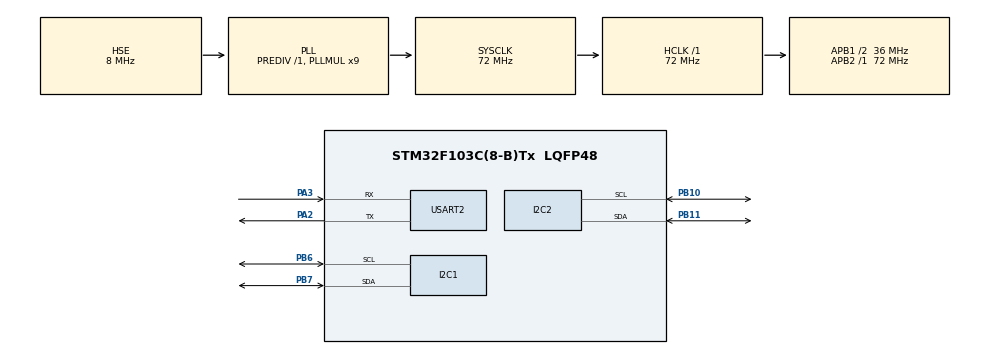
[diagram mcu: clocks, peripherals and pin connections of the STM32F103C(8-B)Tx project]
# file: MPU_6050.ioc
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Dma.I2C1_TX.0.Direction=DMA_MEMORY_TO_PERIPH
Dma.I2C1_TX.0.Instance=DMA1_Channel6
Dma.I2C1_TX.0.MemDataAlignment=DMA_MDATAALIGN_BYTE
Dma.I2C1_TX.0.MemInc=DMA_MINC_ENABLE
Dma.I2C1_TX.0.Mode=DMA_NORMAL
Dma.I2C1_TX.0.PeriphDataAlignment=DMA_PDATAALIGN_BYTE
Dma.I2C1_TX.0.PeriphInc=DMA_PINC_DISABLE
Dma.I2C1_TX.0.Priority=DMA_PRIORITY_HIGH
Dma.Request0=I2C1_TX
I2C1.I2C_Mode=I2C_Fast
Mcu.Family=STM32F1
Mcu.Name=STM32F103C(8-B)Tx
Mcu.Package=LQFP48
NVIC.DMA1_Channel6_IRQn=true\:0\:0\:false\:false\:true\:false\:true\:true
NVIC.I2C1_EV_IRQn=true\:0\:0\:false\:false\:true\:true\:true\:true
NVIC.I2C2_EV_IRQn=true\:0\:0\:false\:false\:true\:true\:true\:true
NVIC.PriorityGroup=NVIC_PRIORITYGROUP_4
NVIC.TIM3_IRQn=true\:0\:0\:false\:false\:true\:true\:true\:true
PA13.Mode=Serial_Wire
PA13.Signal=SYS_JTMS-SWDIO
PA14.Mode=Serial_Wire
PA14.Signal=SYS_JTCK-SWCLK
PA2.Mode=Asynchronous
PA2.Signal=USART2_TX
PA3.Mode=Asynchronous
PA3.Signal=USART2_RX
PB10.Mode=I2C
PB10.Signal=I2C2_SCL
PB11.Mode=I2C
PB11.Signal=I2C2_SDA
PB6.Mode=I2C
PB6.Signal=I2C1_SCL
PB7.Mode=I2C
PB7.Signal=I2C1_SDA
PD0-OSC_IN.Mode=HSE-External-Oscillator
PD0-OSC_IN.Signal=RCC_OSC_IN
PD1-OSC_OUT.Mode=HSE-External-Oscillator
PD1-OSC_OUT.Signal=RCC_OSC_OUT
ProjectManager.HeapSize=0x200
ProjectManager.StackSize=0x400
ProjectManager.TargetToolchain=STM32CubeIDE
RCC.AHBFreq_Value=72000000
RCC.APB1CLKDivider=RCC_HCLK_DIV2
RCC.APB1Freq_Value=36000000
RCC.APB1TimFreq_Value=72000000
RCC.APB2Freq_Value=72000000
RCC.APB2TimFreq_Value=72000000
RCC.HCLKFreq_Value=72000000
RCC.PLLMUL=RCC_PLL_MUL9
RCC.PLLSourceVirtual=RCC_PLLSOURCE_HSE
RCC.SYSCLKFreq_VALUE=72000000
RCC.SYSCLKSource=RCC_SYSCLKSOURCE_PLLCLK
RCC.USBFreq_Value=72000000
TIM3.AutoReloadPreload=TIM_AUTORELOAD_PRELOAD_DISABLE
TIM3.Period=2000-1
TIM3.Prescaler=72-1
USART2.VirtualMode=VM_ASYNC
VP_TIM3_VS_ClockSourceINT.Mode=Internal
board=custom

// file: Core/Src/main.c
/* USER CODE BEGIN Header */
/**
  ******************************************************************************
  * @file           : main.c
  * @brief          : Main program body
  ******************************************************************************
  * @attention
  *
  * Copyright (c) 2024 STMicroelectronics.
  * All rights reserved.
  *
  * This software is licensed under terms that can be found in the LICENSE file
  * in the root directory of this software component.
  * If no LICENSE file comes with this software, it is provided AS-IS.
  *
  ******************************************************************************
  */
/* USER CODE END Header */
#include "main.h"
#include "dma.h"
#include "i2c.h"
#include "tim.h"
#include "usart.h"
#include "gpio.h"

/* USER CODE BEGIN Includes */
#include "oled.h"
#include "oledfont.h"
#include "mpu6050.h"
#include "quater.h"
#include "stdio.h"
/* USER CODE END Includes */

/* USER CODE BEGIN PV */
uint8_t refresh_flag;
/* USER CODE END PV */

void SystemClock_Config(void);

/* USER CODE BEGIN 0 */
//oled刷新结束中断回调函数，用于清空显存等待下一次刷新，并置发送结束的标志位
void HAL_I2C_MemTxCpltCallback(I2C_HandleTypeDef *hi2c)
{
	uint8_t i,j;
	for(i = 0; i < OLED_WIDE; i++)
	{
		for(j = 0; j < OLED_LENGTH; j++)
		{
			show_mem[i][j] = 0;
		}
	}
	refresh_flag = 0;
}
//定时器触发来解算姿态角
void HAL_TIM_PeriodElapsedCallback(TIM_HandleTypeDef *htim)
{
	static int time;
	if(htim -> Instance == TIM3)
	{
			time += 2;
			if(time % 8 ==0 )
			{
				time = 0;
				imu_task();
			}
	}
}

/* USER CODE END 0 */

int main(void)
{

  /* MCU Configuration--------------------------------------------------------*/

  /* Reset of all peripherals, Initializes the Flash interface and the Systick. */
  HAL_Init();

  /* Configure the system clock */
  SystemClock_Config();

  /* Initialize all configured peripherals */
  MX_GPIO_Init();
  MX_DMA_Init();
  MX_I2C2_Init();
  MX_I2C1_Init();
  MX_USART2_UART_Init();
  MX_TIM3_Init();
  /* USER CODE BEGIN 2 */
  OLED_Init();
  OLED_Clear();
  MPU6050_Init();
  HAL_TIM_Base_Start_IT(&htim3);

  /* USER CODE END 2 */

  /* Infinite loop */
  while (1)
  {

    /* USER CODE BEGIN 3 */

	MPU6050_GetAcc(&AX, &AY, &AZ);	//加速度
	MPU6050_GetGyro(&GX, &GY, &GZ);	//角速度
//	printf("%d %d %d %d %d %d\r\n",AX, AY, AZ, GX, GY, GZ);  		//MPU6050原始数据
//	printf("%.1f %.1f \r\n",eulerAngle.pitch, eulerAngle.roll);		//yaw 偏航角 pitch俯仰角 roll翻滚角

	//OLED显示
	if(refresh_flag == 0)
	{
		OLED_Showdecimal(0, 0, eulerAngle.pitch, 3, 1, 16, 0);
		OLED_Showdecimal(0, 2, eulerAngle.roll, 3, 1, 16, 0);
		OLED_Refresh();
	}
	HAL_Delay(100);

  }
  /* USER CODE END 3 */
}

void SystemClock_Config(void)
{
  RCC_OscInitTypeDef RCC_OscInitStruct = {0};
  RCC_ClkInitTypeDef RCC_ClkInitStruct = {0};

  /** Initializes the RCC Oscillators according to the specified parameters
  * in the RCC_OscInitTypeDef structure.
  */
  RCC_OscInitStruct.OscillatorType = RCC_OSCILLATORTYPE_HSE;
  RCC_OscInitStruct.HSEState = RCC_HSE_ON;
  RCC_OscInitStruct.HSEPredivValue = RCC_HSE_PREDIV_DIV1;
  RCC_OscInitStruct.HSIState = RCC_HSI_ON;
  RCC_OscInitStruct.PLL.PLLState = RCC_PLL_ON;
  RCC_OscInitStruct.PLL.PLLSource = RCC_PLLSOURCE_HSE;
  RCC_OscInitStruct.PLL.PLLMUL = RCC_PLL_MUL9;
  if (HAL_RCC_OscConfig(&RCC_OscInitStruct) != HAL_OK)
  {
    Error_Handler();
  }

  /** Initializes the CPU, AHB and APB buses clocks
  */
  RCC_ClkInitStruct.ClockType = RCC_CLOCKTYPE_HCLK|RCC_CLOCKTYPE_SYSCLK
                              |RCC_CLOCKTYPE_PCLK1|RCC_CLOCKTYPE_PCLK2;
  RCC_ClkInitStruct.SYSCLKSource = RCC_SYSCLKSOURCE_PLLCLK;
  RCC_ClkInitStruct.AHBCLKDivider = RCC_SYSCLK_DIV1;
  RCC_ClkInitStruct.APB1CLKDivider = RCC_HCLK_DIV2;
  RCC_ClkInitStruct.APB2CLKDivider = RCC_HCLK_DIV1;

  if (HAL_RCC_ClockConfig(&RCC_ClkInitStruct, FLASH_LATENCY_2) != HAL_OK)
  {
    Error_Handler();
  }
}

void Error_Handler(void)
{
  __disable_irq();
  while (1)
  {
  }
}
